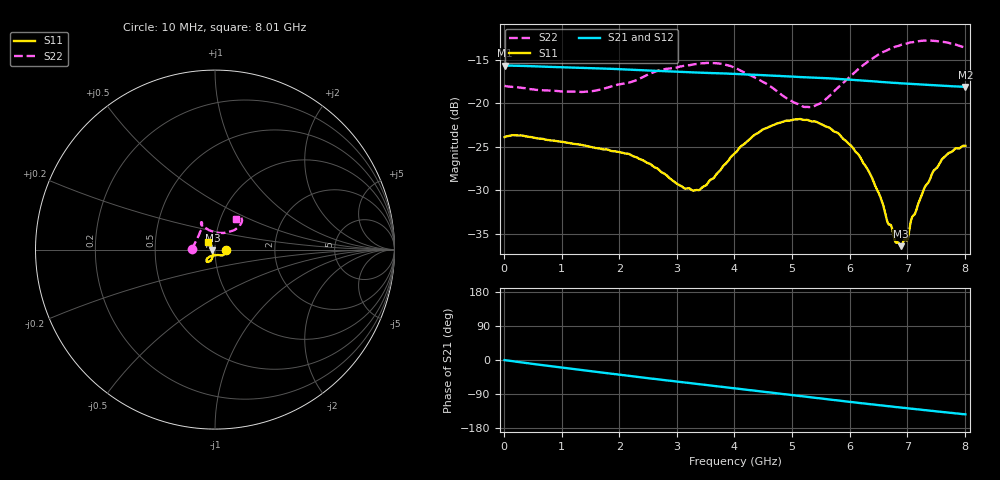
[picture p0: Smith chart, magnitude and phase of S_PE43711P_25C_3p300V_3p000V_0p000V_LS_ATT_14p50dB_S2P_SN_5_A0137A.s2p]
! Device ID: PE43711P
! File Path: z:\PE43711P\CHAR_NOM_04282014\AMB\3p300\LS_ATT_14p50dB\PE43711P_AMB_3p300V_3p000V_0p000V_LS_ATT_14p50dB_S2P_SN_5_A0137A.s2p
! Serial: 5
! Lot: A0137A
! Temp: 25C
! VDD: 3.300
! VSS: 0.000
! Control_Hi: 3.000
! Control_Lo: 0.000
! Attenuation Step: 14.50dB
! Port 1: RF1
! Port 2: RF2
! ThroughPath:1-2
! IDD: 0.0001278814
! ISS: -6.48e-008
#  Hz  S  RI  R  50
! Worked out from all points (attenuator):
!   801 points, 10 MHz to 8.01 GHz, reference 50 ohm
!   highest |S21| = -15.65 dB at 10 MHz (marker M1); lowest = -18.1 dB at 8.01 GHz (marker M2)
!   lowest |S11| = -36.4 dB at 6.89 GHz (marker M3), VSWR 1.03, Z = 48.5 - j0.343 ohm
!   |S11| at or under -10 dB: start of sweep to end of sweep
!   |S22| runs from -20.5 to -12.8 dB; largest |S21 - S12| = 0.00036
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1e7  0.064 5.25e-05  0.165 -0.000722  0.1652 -0.000783  -0.1261 0.000897
1.35e9  0.0504 -0.028  0.1432 -0.0714  0.1434 -0.0715  -0.1005 0.0583
2.16e9  0.0394 -0.0329  0.1166 -0.1041  0.1167 -0.1041  -0.079 0.1049
2.68e9  0.0279 -0.0312  0.0963 -0.1196  0.0964 -0.1196  -0.0727 0.1362
3.11e9  0.0118 -0.0307  0.0781 -0.1299  0.0782 -0.13  -0.0721 0.147
3.37e9  0.000163 -0.0318  0.0669 -0.1345  0.0669 -0.1345  -0.0731 0.1521
4.01e9  -0.0317 -0.0408  0.0381 -0.1426  0.0381 -0.1426  -0.0761 0.1407
4.34e9  -0.0433 -0.0492  0.0231 -0.1441  0.023 -0.1442  -0.0621 0.1272
4.68e9  -0.0476 -0.0583  0.00751 -0.144  0.00745 -0.144  -0.0425 0.1137
5.04e9  -0.0459 -0.0665  -0.0083 -0.142  -0.00842 -0.142  -0.0113 0.1004
5.35e9  -0.0395 -0.0681  -0.0216 -0.1391  -0.0216 -0.1392  0.0216 0.0927
5.79e9  -0.0255 -0.0627  -0.0398 -0.1324  -0.0399 -0.1323  0.0738 0.0975
6.16e9  -0.0159 -0.0479  -0.0536 -0.1247  -0.0537 -0.1247  0.1124 0.1116
6.38e9  -0.0123 -0.0359  -0.0611 -0.1195  -0.0611 -0.1196  0.13 0.1238
6.68e9  -0.0124 -0.0159  -0.07 -0.1118  -0.0699 -0.1119  0.1446 0.1443
6.8e9  -0.0132 -0.00892  -0.0733 -0.1086  -0.0732 -0.1087  0.148 0.1518
6.89e9  -0.0147 -0.00353  -0.0757 -0.1062  -0.0756 -0.1063  0.1499 0.1565
7e9  -0.0161 0.00316  -0.0785 -0.1033  -0.0785 -0.1033  0.1509 0.1622
7.09e9  -0.0206 0.00889  -0.0809 -0.1008  -0.0809 -0.1009  0.1498 0.1672
7.46e9  -0.0304 0.0276  -0.0895 -0.0902  -0.0895 -0.0903  0.14 0.1806
7.69e9  -0.0368 0.0352  -0.0941 -0.0835  -0.0941 -0.0834  0.1296 0.1824
8.01e9  -0.041 0.0397  -0.0999 -0.074  -0.1002 -0.0738  0.1175 0.172
